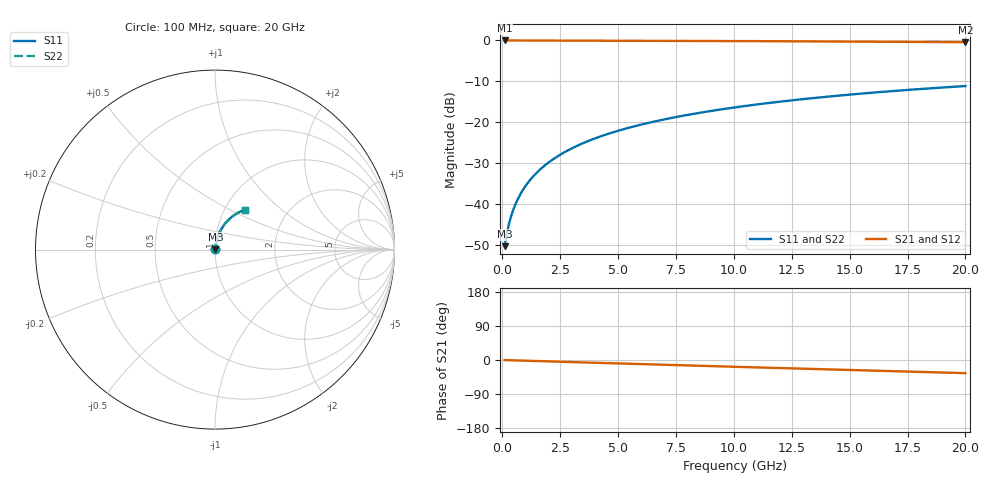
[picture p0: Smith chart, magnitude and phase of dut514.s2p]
! Touchstone file exported from HFSS 2026.1.0
!  File:  C:/ffzhzh/LocalFiles/Ansys_Project_Files/temp_train_TMRDL_514_1783006992_4048.aedt
!  Generated:  11:44:35 PM Jul  2, 2026
!  Design:  TMRDL
!  Project:  temp_train_TMRDL_514_1783006992_4048
! Variables:
!  h_bsmrdl = 2um
!  h_ox = 20um
!  h_rdl = 5um
!  h_sub = 80um
!  h_tmrdl = 3.77um
!  h_tsv = 80um
!  h_via = 3um
!  l_bsmrdl = 300um
!  l_sub = 926.02um
!  l_tmrdl = 526.02um
!  m_sub = 200um
!  pitch = 40.62um
!  r_tsv = 6um
!  s_tmrdl = 10um
!  w_bsmrdl = 18um
!  w_sub = 500um
!  w_tmrdl = 21.88um
!  x_tsv_center1 = 536.96um
!  x_tsv_center2 = 854.96um
!  x_tsv_center3 = 1402.86um
!  x_tsv_center4 = 1720.86um
!  x_tsv_center5 = 2268.76um
!  x_tsv_center6 = 2586.76um
# GHz S MA R 50.000000
! Terminal data exported
! Port[1] = TM_RDL1_1_T1
! Port[2] = TM_RDL1_1_T2
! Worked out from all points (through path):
!   200 points, 100 MHz to 20 GHz, reference 50 ohm
!   highest |S21| = -0.02 dB at 100 MHz (marker M1); lowest = -0.4 dB at 20 GHz (marker M2)
!   group delay of S21, straight-line fit = 4.81 ps
!   lowest |S11| = -50.3 dB at 100 MHz (marker M3), VSWR 1.01, Z = 50.2 + j0.182 ohm
!   |S11| at or under -10 dB: start of sweep to end of sweep
!   |S22| runs from -50.3 to -11.2 dB; largest |S21 - S12| = 6.5e-15
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0.1  0.003063 36.3  0.9975 -0.2  0.9975 -0.2  0.003063 36.3
! Gamma 0 0 0 0
! Port Impedance 50 0 50 0
0.2  0.004414 53.4  0.9974 -0.4  0.9974 -0.4  0.004414 53.4
0.3  0.005903 61.6  0.9972 -0.6  0.9972 -0.6  0.005903 61.6
0.4  0.007408 66.3  0.9971 -0.8  0.9971 -0.8  0.007408 66.3
0.5  0.008917 69.5  0.997 -0.9  0.997 -0.9  0.008917 69.5
0.6  0.01043 71.9  0.9969 -1.1  0.9969 -1.1  0.01043 71.9
0.8  0.01349 75.0  0.9968 -1.5  0.9968 -1.5  0.01349 75.0
1.1  0.01814 77.6  0.9966 -2.0  0.9966 -2.0  0.01814 77.6
1.3  0.02126 78.6  0.9965 -2.4  0.9965 -2.4  0.02126 78.6
1.6  0.02597 79.5  0.9963 -2.9  0.9963 -2.9  0.02597 79.5
2.1  0.03382 80.0  0.9958 -3.8  0.9958 -3.8  0.03382 80.0
2.7  0.04322 79.9  0.9952 -4.9  0.9952 -4.9  0.04322 79.9
3.5  0.05568 79.2  0.9942 -6.4  0.9942 -6.4  0.05568 79.2
4.2  0.06646 78.4  0.9932 -7.6  0.9932 -7.6  0.06646 78.4
5  0.07865 77.2  0.9918 -9.1  0.9918 -9.1  0.07865 77.2
5.9  0.09217 75.8  0.9901 -10.7  0.9901 -10.7  0.09217 75.8
6.8  0.1055 74.4  0.9883 -12.3  0.9883 -12.3  0.1055 74.4
8.3  0.1272 72.0  0.985 -14.9  0.985 -14.9  0.1272 72.0
10.1  0.1526 69.1  0.9806 -18.0  0.9806 -18.0  0.1526 69.1
13.4  0.1969 63.7  0.9715 -23.7  0.9715 -23.7  0.1969 63.7
16.7  0.2384 58.4  0.9614 -29.2  0.9614 -29.2  0.2384 58.5
20  0.2767 53.2  0.9505 -34.6  0.9505 -34.6  0.2767 53.2
